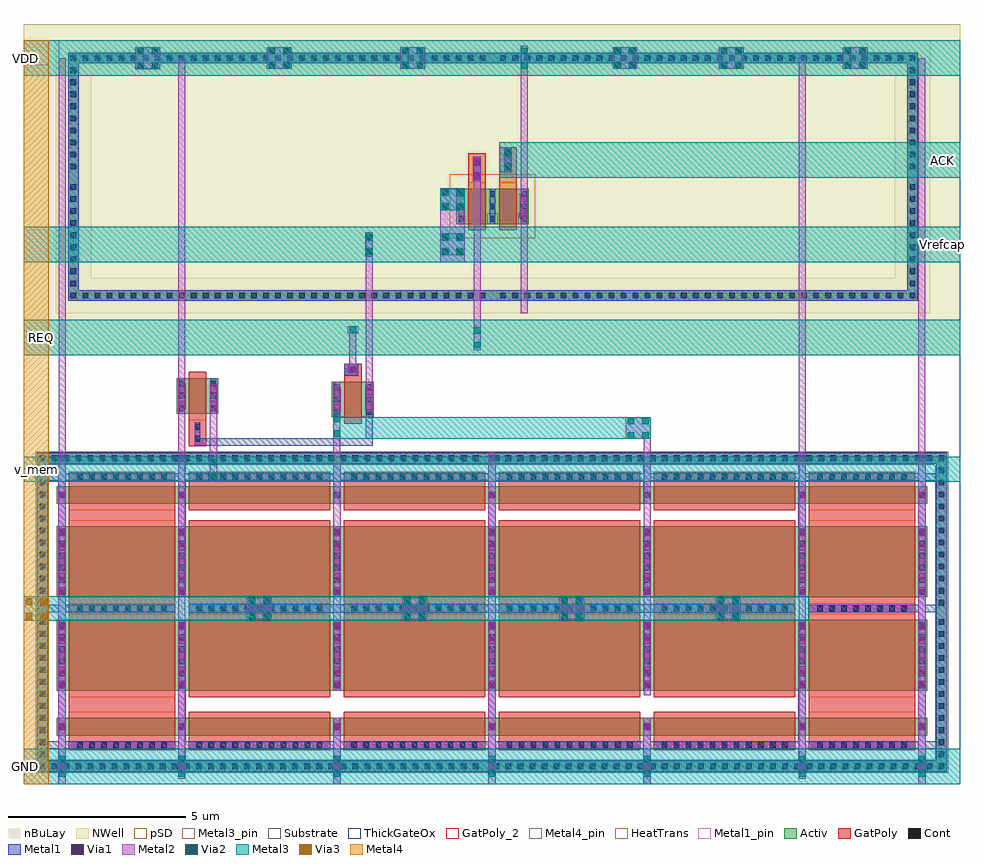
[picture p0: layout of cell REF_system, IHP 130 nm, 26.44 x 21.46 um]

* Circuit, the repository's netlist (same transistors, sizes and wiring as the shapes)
** sch_path: /foss/designs/adex_neuron/chenxi_working/ttihp26a-adex-neuron-ncs/xschem/REF_system.sch
.subckt REF_system ACK V_mem REQ Vrefcap GND V_ref VDD nwell psub
*.PININFO VDD:B GND:B V_ref:I REQ:I ACK:I V_mem:I Vrefcap:O psub:B nwell:B
M10 Vrefcap REQ net2 nwell sg13_hv_pmos w=1u l=0.5u ng=1
M11 Vrefcap REQ net1 psub sg13_hv_nmos w=1u l=0.5u ng=1
M12 net2 ACK VDD nwell sg13_hv_pmos w=1u l=0.5u ng=1
M13 V_mem Vrefcap GND psub sg13_hv_nmos w=1u l=0.5u ng=1
M14 net1 V_ref GND psub sg13_hv_nmos w=4u l=4u ng=2 m=4
Mdum3 GND GND GND psub sg13_hv_nmos w=2u l=4u ng=4 m=2
Mdum4 GND GND GND psub sg13_hv_nmos w=0.5u l=3u ng=1 m=4
Mdum5 GND GND GND psub sg13_hv_nmos w=2u l=3u ng=1 m=4
R4 GND psub ptap1 A=2.046e-11 P=0.0001364
R1 VDD nwell ntap1 A=1.824e-11 P=0.0001216
.ends

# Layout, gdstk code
from math import pi, radians
import gdstk
lib = gdstk.Library(unit=1e-6, precision=1e-09)
def R(c, l, rs):  # rectangles x0, y0, x1, y1
    for r in rs: c.add(gdstk.rectangle(r[:2], r[2:], *l))
def A(c, l, x, y, w, h, nx, ny, dx, dy):  # array of equal rectangles
    R(c, l, [(x+i*dx, y+j*dy, x+i*dx+w, y+j*dy+h) for i in range(nx) for j in range(ny)])
def P(c, l, *ps):  # polygons
    for p in ps: c.add(gdstk.Polygon(p, *l))
Activ = (1, 0)
GatPoly = (5, 0)
GatPoly_2 = (5, 2)
Cont = (6, 0)
Metal1 = (8, 0)
Metal1_pin = (8, 2)
Metal2 = (10, 0)
pSD = (14, 0)
Via1 = (19, 0)
Via2 = (29, 0)
Metal3 = (30, 0)
Metal3_pin = (30, 2)
NWell = (31, 0)
nBuLay = (32, 0)
Substrate = (40, 0)
ThickGateOx = (44, 0)
Via3 = (49, 0)
Metal4 = (50, 0)
Metal4_pin = (50, 2)
HeatTrans = (51, 0)

nmoshv = lib.new_cell('nmosHV')
A(nmoshv, Activ, 0, 0, 0.3, 0.3, 3, 1, 4.38, 0)
R(nmoshv, Activ, [(0,0,9.06,2)])
R(nmoshv, GatPoly, [(0.34,-0.18,4.34,2.18), (4.72,-0.18,8.72,2.18)])
R(nmoshv, GatPoly_2, [(0.34,-0.18,4.34,2.18)])
A(nmoshv, Cont, 0.07, 0.07, 0.16, 0.16, 3, 6, 4.38, 0.34)
A(nmoshv, Metal1, 0.07, 0, 0.16, 2, 3, 1, 4.38, 0)
R(nmoshv, Metal1_pin, [(0.07,0,0.23,2), (4.45,0,4.61,2)])
R(nmoshv, ThickGateOx, [(-0.27,-0.52,9.33,2.52)])
R(nmoshv, HeatTrans, [(0.34,-0.18,4.34,2.18), (4.72,-0.18,8.72,2.18)])
nmoshv.add(gdstk.Label('nmosHV', (2.34,1), layer=63, texttype=0))
nmoshv.add(gdstk.Label('nmosHV', (2.34,1), layer=51, texttype=0))
nmoshv.add(gdstk.Label('nmosHV', (6.72,1), layer=51, texttype=0))

nmoshv_1 = lib.new_cell('nmosHV$1')
A(nmoshv_1, Activ, 0, 0, 0.3, 0.3, 5, 1, 4.38, 0)
R(nmoshv_1, Activ, [(0,0,17.82,0.5)])
A(nmoshv_1, GatPoly, 0.34, -0.18, 4, 0.86, 4, 1, 4.38, 0)
R(nmoshv_1, GatPoly_2, [(0.34,-0.18,4.34,0.68)])
A(nmoshv_1, Cont, 0.07, 0.17, 0.16, 0.16, 5, 1, 4.38, 0)
A(nmoshv_1, Metal1, 0.07, 0, 0.16, 0.5, 5, 1, 4.38, 0)
R(nmoshv_1, Metal1_pin, [(0.07,0,0.23,0.5), (4.45,0,4.61,0.5)])
R(nmoshv_1, ThickGateOx, [(-0.27,-0.52,18.09,1.02)])
A(nmoshv_1, HeatTrans, 0.34, -0.18, 4, 0.86, 4, 1, 4.38, 0)
nmoshv_1.add(gdstk.Label('nmosHV', (2.34,0.25), layer=63, texttype=0))
nmoshv_1.add(gdstk.Label('nmosHV', (2.34,0.25), layer=51, texttype=0))
nmoshv_1.add(gdstk.Label('nmosHV', (6.72,0.25), layer=51, texttype=0))
nmoshv_1.add(gdstk.Label('nmosHV', (11.1,0.25), layer=51, texttype=0))
nmoshv_1.add(gdstk.Label('nmosHV', (15.48,0.25), layer=51, texttype=0))

guard_ring = lib.new_cell('guard_ring')
R(guard_ring, Activ, [(-12.85,-4.2,-12.55,4.2), (12.55,-4.2,12.85,4.2), (-12.85,4.2,12.85,4.5)])
P(guard_ring, Activ, [(-12.85,-4.5),(-12.85,4.2),(-12.55,4.2),(-12.55,-4.2),(12.55,-4.2),(12.55,4.2),(-12.85,4.2),(-12.85,4.5),(12.85,4.5),(12.85,-4.5)])
A(guard_ring, Cont, -12.78, -4.43, 0.16, 0.16, 37, 2, 0.34, 8.7)
A(guard_ring, Cont, 0.04, -4.43, 0.16, 0.16, 38, 2, 0.34, 8.7)
A(guard_ring, Cont, -12.78, -4.09, 0.16, 0.16, 1, 12, 0, 0.34)
A(guard_ring, Cont, 12.62, -4.09, 0.16, 0.16, 1, 12, 0, 0.34)
A(guard_ring, Cont, -12.78, 0.19, 0.16, 0.16, 1, 12, 0, 0.34)
A(guard_ring, Cont, 12.62, 0.19, 0.16, 0.16, 1, 12, 0, 0.34)
R(guard_ring, Metal1, [(-12.85,-4.5,12.85,-4.2), (-12.85,-4.2,-12.55,4.2), (12.55,-4.2,12.85,4.2), (-12.85,4.2,12.85,4.5)])
R(guard_ring, pSD, [(-12.88,-4.17,-12.52,4.17), (12.52,-4.17,12.88,4.17), (-12.88,4.17,12.88,4.53)])
P(guard_ring, pSD, [(-12.88,-4.53),(-12.88,4.17),(-12.52,4.17),(-12.52,-4.17),(12.52,-4.17),(12.52,4.17),(-12.88,4.17),(-12.88,4.53),(12.88,4.53),(12.88,-4.53)])
R(guard_ring, Substrate, [(-12.88,-4.17,-12.52,4.17), (12.52,-4.17,12.88,4.17), (-12.88,4.17,12.88,4.53)])
P(guard_ring, Substrate, [(-12.88,-4.53),(-12.88,4.17),(-12.52,4.17),(-12.52,-4.17),(12.52,-4.17),(12.52,4.17),(-12.88,4.17),(-12.88,4.53),(12.88,4.53),(12.88,-4.53)])
guard_ring.add(gdstk.Label('sub!', (0,-4.35), layer=63, texttype=0))

nmoshv_4 = lib.new_cell('nmosHV$4')
R(nmoshv_4, Activ, [(0,0,0.3,0.3), (0,0,1.18,1), (0.88,0,1.18,0.3)])
R(nmoshv_4, GatPoly, [(0.34,-0.18,0.84,1.18)])
R(nmoshv_4, GatPoly_2, [(0.34,-0.18,0.84,1.18)])
A(nmoshv_4, Cont, 0.07, 0.07, 0.16, 0.16, 1, 3, 0, 0.35)
A(nmoshv_4, Cont, 0.95, 0.07, 0.16, 0.16, 1, 3, 0, 0.35)
R(nmoshv_4, Metal1, [(0.07,0,0.23,1), (0.95,0,1.11,1)])
R(nmoshv_4, Metal1_pin, [(0.07,0,0.23,1), (0.95,0,1.11,1)])
R(nmoshv_4, ThickGateOx, [(-0.27,-0.52,1.45,1.52)])
R(nmoshv_4, HeatTrans, [(0.34,-0.18,0.84,1.18)])
nmoshv_4.add(gdstk.Label('nmosHV', (0.59,0.5), layer=63, texttype=0))
nmoshv_4.add(gdstk.Label('nmosHV', (0.59,0.5), layer=51, texttype=0))

pmoshv = lib.new_cell('pmosHV')
R(pmoshv, Activ, [(0,0,0.3,0.3), (0,0,1.18,1), (0.88,0,1.18,0.3)])
R(pmoshv, GatPoly, [(0.34,-0.18,0.84,1.18)])
R(pmoshv, GatPoly_2, [(0.34,-0.18,0.84,1.18)])
A(pmoshv, Cont, 0.07, 0.07, 0.16, 0.16, 1, 3, 0, 0.35)
A(pmoshv, Cont, 0.95, 0.07, 0.16, 0.16, 1, 3, 0, 0.35)
R(pmoshv, Metal1, [(0.07,0,0.23,1), (0.95,0,1.11,1)])
R(pmoshv, Metal1_pin, [(0.07,0,0.23,1), (0.95,0,1.11,1)])
R(pmoshv, pSD, [(-0.18,-0.4,1.36,1.4)])
R(pmoshv, NWell, [(-0.62,-0.62,1.8,1.62)])
R(pmoshv, Substrate, [(0.88,0,1.18,0.3)])
R(pmoshv, ThickGateOx, [(-0.62,-0.62,1.8,1.62)])
R(pmoshv, HeatTrans, [(0.34,-0.18,0.84,1.18)])
pmoshv.add(gdstk.Label('pmosHV', (0.59,0.5), layer=63, texttype=0))
pmoshv.add(gdstk.Label('pmos', (0.59,0.5), layer=51, texttype=0))

via_stack_10 = lib.new_cell('via_stack$10')
R(via_stack_10, Metal1, [(-0.105,-0.35,0.105,0.35)])
R(via_stack_10, Metal2, [(-0.1,-0.35,0.1,0.35)])
R(via_stack_10, Via1, [(-0.095,-0.3,0.095,-0.11), (-0.095,0.11,0.095,0.3)])

guard_ring_2 = lib.new_cell('guard_ring$2')
R(guard_ring_2, Activ, [(-12,-3.2,-11.7,3.2), (11.7,-3.2,12,3.2), (-12,3.2,12,3.5)])
P(guard_ring_2, Activ, [(-12,-3.5),(-12,3.2),(-11.7,3.2),(-11.7,-3.2),(11.7,-3.2),(11.7,3.2),(-12,3.2),(-12,3.5),(12,3.5),(12,-3.5)])
A(guard_ring_2, Cont, -11.93, -3.43, 0.16, 0.16, 35, 2, 0.34, 6.7)
A(guard_ring_2, Cont, 0.21, -3.43, 0.16, 0.16, 35, 2, 0.34, 6.7)
A(guard_ring_2, Cont, -11.93, -3.09, 0.16, 0.16, 1, 9, 0, 0.34)
A(guard_ring_2, Cont, 11.77, -3.09, 0.16, 0.16, 1, 9, 0, 0.34)
A(guard_ring_2, Cont, -11.93, 0.21, 0.16, 0.16, 1, 9, 0, 0.34)
A(guard_ring_2, Cont, 11.77, 0.21, 0.16, 0.16, 1, 9, 0, 0.34)
R(guard_ring_2, Metal1, [(-12,-3.5,12,-3.2), (-12,-3.2,-11.7,3.2), (11.7,-3.2,12,3.2), (-12,3.2,12,3.5)])
R(guard_ring_2, NWell, [(-12.35,-3.85,12.35,3.85)])
R(guard_ring_2, nBuLay, [(-12.35,-2.85,-11.35,2.85), (11.35,-2.85,12.35,2.85), (-12.35,2.85,12.35,3.85)])
P(guard_ring_2, nBuLay, [(-12.35,-3.85),(-12.35,2.85),(-11.35,2.85),(-11.35,-2.85),(11.35,-2.85),(11.35,2.85),(-12.35,2.85),(-12.35,3.85),(12.35,3.85),(12.35,-3.85)])
guard_ring_2.add(gdstk.Label('well', (0,-3.35), layer=63, texttype=0))

via_stack_11 = lib.new_cell('via_stack$11')
R(via_stack_11, Metal1, [(-0.105,-0.35,0.105,0.35)])
R(via_stack_11, Metal2, [(-0.1,-0.35,0.1,0.35)])
R(via_stack_11, Via1, [(-0.095,-0.3,0.095,-0.11), (-0.095,0.11,0.095,0.3)])

via_stack_15 = lib.new_cell('via_stack$15')
R(via_stack_15, GatPoly, [(-0.15,-0.32,0.15,0.32)])
R(via_stack_15, Cont, [(-0.08,-0.25,0.08,-0.09), (-0.08,0.09,0.08,0.25)])
R(via_stack_15, Metal1, [(-0.105,-0.35,0.105,0.35)])
R(via_stack_15, Metal2, [(-0.1,-0.35,0.1,0.35)])
R(via_stack_15, Via1, [(-0.095,-0.3,0.095,-0.11), (-0.095,0.11,0.095,0.3)])
R(via_stack_15, Via2, [(-0.095,-0.3,0.095,-0.11), (-0.095,0.11,0.095,0.3)])
R(via_stack_15, Metal3, [(-0.1,-0.35,0.1,0.35)])

via_stack_24 = lib.new_cell('via_stack$24')
R(via_stack_24, Metal1, [(-0.35,-0.31,0.35,0.31)])
R(via_stack_24, Metal2, [(-0.35,-0.305,0.35,0.305)])
R(via_stack_24, Via1, [(-0.3,-0.3,-0.11,-0.11), (0.11,-0.3,0.3,-0.11), (-0.3,0.11,-0.11,0.3), (0.11,0.11,0.3,0.3)])
R(via_stack_24, Via2, [(-0.3,-0.3,-0.11,-0.11), (0.11,-0.3,0.3,-0.11), (-0.3,0.11,-0.11,0.3), (0.11,0.11,0.3,0.3)])
R(via_stack_24, Metal3, [(-0.35,-0.305,0.35,0.305)])

via_stack = lib.new_cell('via_stack')
R(via_stack, Metal2, [(-0.1,-0.35,0.1,0.35)])
R(via_stack, Via2, [(-0.095,-0.3,0.095,-0.11), (-0.095,0.11,0.095,0.3)])
R(via_stack, Metal3, [(-0.1,-0.35,0.1,0.35)])

via_stack_21 = lib.new_cell('via_stack$21')
R(via_stack_21, GatPoly, [(-0.15,-0.15,0.15,0.15)])
R(via_stack_21, Cont, [(-0.08,-0.08,0.08,0.08)])
R(via_stack_21, Metal1, [(-0.145,-0.105,0.145,0.105)])
R(via_stack_21, Metal2, [(-0.145,-0.1,0.145,0.1)])
R(via_stack_21, Via1, [(-0.095,-0.095,0.095,0.095)])

via_stack_23 = lib.new_cell('via_stack$23')
R(via_stack_23, Metal1, [(-0.105,-0.35,0.105,0.35)])
R(via_stack_23, Metal2, [(-0.1,-0.35,0.1,0.35)])
R(via_stack_23, Via1, [(-0.095,-0.3,0.095,-0.11), (-0.095,0.11,0.095,0.3)])
R(via_stack_23, Via2, [(-0.095,-0.3,0.095,-0.11), (-0.095,0.11,0.095,0.3)])
R(via_stack_23, Metal3, [(-0.1,-0.35,0.1,0.35)])

via_stack_20 = lib.new_cell('via_stack$20')
R(via_stack_20, Metal2, [(-0.145,-0.1,0.145,0.1)])
R(via_stack_20, Via2, [(-0.095,-0.095,0.095,0.095)])
R(via_stack_20, Metal3, [(-0.145,-0.1,0.145,0.1)])

via_stack_22 = lib.new_cell('via_stack$22')
R(via_stack_22, GatPoly, [(-0.15,-0.32,0.15,0.32)])
R(via_stack_22, Cont, [(-0.08,-0.25,0.08,-0.09), (-0.08,0.09,0.08,0.25)])
R(via_stack_22, Metal1, [(-0.105,-0.35,0.105,0.35)])
R(via_stack_22, Metal2, [(-0.1,-0.35,0.1,0.35)])
R(via_stack_22, Via1, [(-0.095,-0.3,0.095,-0.11), (-0.095,0.11,0.095,0.3)])

via_stack_7 = lib.new_cell('via_stack$7')
R(via_stack_7, GatPoly, [(-1.85,-0.15,1.85,0.15)])
A(via_stack_7, Cont, -1.78, -0.08, 0.16, 0.16, 11, 1, 0.34, 0)
R(via_stack_7, Metal1, [(-1.83,-0.08,1.83,0.08)])

via_stack_2 = lib.new_cell('via_stack$2')
R(via_stack_2, Metal1, [(-0.145,-0.105,0.145,0.105)])
R(via_stack_2, Metal2, [(-0.145,-0.1,0.145,0.1)])
R(via_stack_2, Via1, [(-0.095,-0.095,0.095,0.095)])

via_stack_3 = lib.new_cell('via_stack$3')
R(via_stack_3, Metal1, [(-0.965,-0.105,0.965,0.105)])
R(via_stack_3, Metal2, [(-0.965,-0.1,0.965,0.1)])
A(via_stack_3, Via1, -0.915, -0.095, 0.19, 0.19, 5, 1, 0.41, 0)

nmoshv_2 = lib.new_cell('nmosHV$2')
R(nmoshv_2, Activ, [(0,0,0.3,0.3), (0,0,3.68,0.5), (3.38,0,3.68,0.3)])
R(nmoshv_2, GatPoly, [(0.34,-0.18,3.34,0.68)])
R(nmoshv_2, GatPoly_2, [(0.34,-0.18,3.34,0.68)])
R(nmoshv_2, Cont, [(0.07,0.17,0.23,0.33), (3.45,0.17,3.61,0.33)])
R(nmoshv_2, Metal1, [(0.07,0,0.23,0.5), (3.45,0,3.61,0.5)])
R(nmoshv_2, Metal1_pin, [(0.07,0,0.23,0.5), (3.45,0,3.61,0.5)])
R(nmoshv_2, ThickGateOx, [(-0.27,-0.52,3.95,1.02)])
R(nmoshv_2, HeatTrans, [(0.34,-0.18,3.34,0.68)])
nmoshv_2.add(gdstk.Label('nmosHV', (1.84,0.25), layer=63, texttype=0))
nmoshv_2.add(gdstk.Label('nmosHV', (1.84,0.25), layer=51, texttype=0))

nmoshv_3 = lib.new_cell('nmosHV$3')
R(nmoshv_3, Activ, [(0,0,0.3,0.3), (0,0,3.68,2), (3.38,0,3.68,0.3)])
R(nmoshv_3, GatPoly, [(0.34,-0.18,3.34,2.18)])
R(nmoshv_3, GatPoly_2, [(0.34,-0.18,3.34,2.18)])
A(nmoshv_3, Cont, 0.07, 0.07, 0.16, 0.16, 1, 6, 0, 0.34)
A(nmoshv_3, Cont, 3.45, 0.07, 0.16, 0.16, 1, 6, 0, 0.34)
R(nmoshv_3, Metal1, [(0.07,0,0.23,2), (3.45,0,3.61,2)])
R(nmoshv_3, Metal1_pin, [(0.07,0,0.23,2), (3.45,0,3.61,2)])
R(nmoshv_3, ThickGateOx, [(-0.27,-0.52,3.95,2.52)])
R(nmoshv_3, HeatTrans, [(0.34,-0.18,3.34,2.18)])
nmoshv_3.add(gdstk.Label('nmosHV', (1.84,1), layer=63, texttype=0))
nmoshv_3.add(gdstk.Label('nmosHV', (1.84,1), layer=51, texttype=0))

via_stack_9 = lib.new_cell('via_stack$9')
R(via_stack_9, GatPoly, [(-1.34,-0.15,1.34,0.15)])
A(via_stack_9, Cont, -1.27, -0.08, 0.16, 0.16, 8, 1, 0.34, 0)
R(via_stack_9, Metal1, [(-1.32,-0.08,1.32,0.08)])

via_stack_13 = lib.new_cell('via_stack$13')
R(via_stack_13, GatPoly, [(-0.15,-0.32,0.15,0.32)])
R(via_stack_13, Cont, [(-0.08,-0.25,0.08,-0.09), (-0.08,0.09,0.08,0.25)])
R(via_stack_13, Metal1, [(-0.08,-0.3,0.08,0.3)])

via_stack_12 = lib.new_cell('via_stack$12')
R(via_stack_12, Metal3, [(-0.35,-0.305,0.35,0.305)])
R(via_stack_12, Via3, [(-0.3,-0.3,-0.11,-0.11), (0.11,-0.3,0.3,-0.11), (-0.3,0.11,-0.11,0.3), (0.11,0.11,0.3,0.3)])
R(via_stack_12, Metal4, [(-0.35,-0.305,0.35,0.305)])

via_stack_8 = lib.new_cell('via_stack$8')
R(via_stack_8, Metal1, [(-0.35,-0.105,0.35,0.105)])
R(via_stack_8, Metal2, [(-0.35,-0.1,0.35,0.1)])
R(via_stack_8, Via1, [(-0.3,-0.095,-0.11,0.095), (0.11,-0.095,0.3,0.095)])

via_stack_4 = lib.new_cell('via_stack$4')
R(via_stack_4, Metal2, [(-0.35,-0.305,0.35,0.305)])
R(via_stack_4, Via2, [(-0.3,-0.3,-0.11,-0.11), (0.11,-0.3,0.3,-0.11), (-0.3,0.11,-0.11,0.3), (0.11,0.11,0.3,0.3)])
R(via_stack_4, Metal3, [(-0.35,-0.305,0.35,0.305)])

ref_system = lib.new_cell('REF_system')
A(ref_system, GatPoly, 4.65, 0.455, 4, 0.3, 4, 1, 4.38, 0)
A(ref_system, GatPoly, 4.65, 1.955, 4, 5, 4, 1, 4.38, 0)
R(ref_system, GatPoly, [(1.27,0.455,4.27,8.325), (22.17,0.455,25.17,8.325), (4.65,8.025,8.65,8.325), (4.65,8.025,8.65,8.325), (9.03,8.025,13.03,8.325), (9.03,8.025,13.03,8.325), (13.41,8.025,17.41,8.325), (13.41,8.025,17.41,8.325), (17.79,8.025,21.79,8.325), (17.79,8.025,21.79,8.325), (4.655,9.035,5.155,9.955), (9.04,10.965,9.54,11.375), (13.425,16.21,13.92,17.485), (12.545,16.395,13.045,17.315)])
A(ref_system, Metal1, 4.355, 0.865, 0.21, 0.5, 5, 1, 4.38, 0)
A(ref_system, Metal1, 4.355, 2.135, 0.21, 2, 5, 2, 4.38, 2.64)
R(ref_system, Metal1, [(0.975,0.865,1.185,1.365), (25.255,0.865,25.465,1.365), (0.975,2.135,1.185,4.135), (25.255,2.135,25.465,4.135), (0.975,4.775,1.185,6.775), (25.255,4.775,25.465,6.775), (0.975,7.415,1.185,7.915), (0.975,7.415,1.185,7.915), (4.355,7.415,4.565,7.915), (4.355,7.415,4.565,7.915), (8.74,7.415,8.95,7.915), (8.74,7.415,8.95,7.915), (13.115,7.415,13.325,7.915), (13.115,7.415,13.325,7.915), (17.495,7.415,17.705,7.915), (17.495,7.415,17.705,7.915), (21.875,7.415,22.085,7.915), (21.875,7.415,22.085,7.915), (25.255,7.415,25.465,7.915), (25.255,7.415,25.465,7.915), (1.27,8.07,4.27,8.28), (1.27,8.07,4.27,8.28), (22.17,8.07,25.17,8.28), (22.17,8.07,25.17,8.28), (9.04,11.035,9.44,11.375)])
R(ref_system, Metal2, [(13.425,16.78,13.775,17.485)])
R(ref_system, Metal3_pin, [(0,-0.5,1,0.5), (0,8.04,0.7,8.74), (0,11.605,1,12.605), (25.44,14.24,26.44,15.24), (25.44,16.62,26.44,17.62), (0,19.5,1,20.5)])
R(ref_system, NWell, [(0,11.605,26.44,20.965)])
R(ref_system, ThickGateOx, [(0,-0.5,26.44,20.5)])
R(ref_system, Metal4_pin, [(0,19.8,0.7,20.5)])
ref_system.add(gdstk.FlexPath([(4.82,9.16),(9.75,9.16),(9.75,10.855)], 0.2, ends="flush", simple_path=True, layer=8, datatype=0))  # Metal1
ref_system.add(gdstk.FlexPath([(1.08,8.85),(1.08,-0.15)], 0.21, ends="flush", simple_path=True, layer=8, datatype=0))  # Metal1
ref_system.add(gdstk.FlexPath([(1.08,2.04),(1.08,0)], 0.21, ends="flush", simple_path=True, layer=8, datatype=0))  # Metal1
ref_system.add(gdstk.FlexPath([(25.36,2.04),(25.36,0)], 0.21, ends="flush", simple_path=True, layer=8, datatype=0))  # Metal1
ref_system.add(gdstk.FlexPath([(25.36,-0.15),(25.36,8.85)], 0.21, ends="flush", simple_path=True, layer=8, datatype=0))  # Metal1
ref_system.add(gdstk.FlexPath([(13.22,8.85),(13.22,4.775)], 0.21, ends="flush", simple_path=True, layer=8, datatype=0))  # Metal1
ref_system.add(gdstk.FlexPath([(4.46,4.135),(4.46,0)], 0.21, ends="flush", simple_path=True, layer=8, datatype=0))  # Metal1
ref_system.add(gdstk.FlexPath([(21.98,4.135),(21.98,0)], 0.21, ends="flush", simple_path=True, layer=8, datatype=0))  # Metal1
ref_system.add(gdstk.FlexPath([(21.98,8.85),(21.98,4.775)], 0.21, ends="flush", simple_path=True, layer=8, datatype=0))  # Metal1
ref_system.add(gdstk.FlexPath([(13.22,4.135),(13.22,0)], 0.21, ends="flush", simple_path=True, layer=8, datatype=0))  # Metal1
ref_system.add(gdstk.FlexPath([(4.65,4.455),(21.79,4.455)], 0.24, ends="flush", simple_path=True, layer=8, datatype=0))  # Metal1
ref_system.add(gdstk.FlexPath([(9.03,4.455),(13.03,4.455)], 0.24, ends="flush", simple_path=True, layer=8, datatype=0))  # Metal1
ref_system.add(gdstk.FlexPath([(13.41,4.455),(17.41,4.455)], 0.24, ends="flush", simple_path=True, layer=8, datatype=0))  # Metal1
ref_system.add(gdstk.FlexPath([(17.79,4.455),(21.79,4.455)], 0.24, ends="flush", simple_path=True, layer=8, datatype=0))  # Metal1
ref_system.add(gdstk.FlexPath([(8.84,1.365),(8.84,-0.5)], 0.21, ends="flush", simple_path=True, layer=8, datatype=0))  # Metal1
ref_system.add(gdstk.FlexPath([(17.6,1.365),(17.6,-0.5)], 0.21, ends="flush", simple_path=True, layer=8, datatype=0))  # Metal1
ref_system.add(gdstk.FlexPath([(8.845,8.85),(8.845,7.415)], 0.21, ends="flush", simple_path=True, layer=8, datatype=0))  # Metal1
ref_system.add(gdstk.FlexPath([(17.6,8.85),(17.6,7.415)], 0.21, ends="flush", simple_path=True, layer=8, datatype=0))  # Metal1
ref_system.add(gdstk.FlexPath([(4.46,8.85),(4.46,4.775)], 0.21, ends="flush", simple_path=True, layer=8, datatype=0))  # Metal1
ref_system.add(gdstk.FlexPath([(4.27,4.455),(0.38,4.455)], 0.21, ends="flush", simple_path=True, layer=8, datatype=0))  # Metal1
ref_system.add(gdstk.FlexPath([(0.38,8.175),(26.06,8.175)], 0.21, ends="flush", simple_path=True, layer=8, datatype=0))  # Metal1
ref_system.add(gdstk.FlexPath([(22.17,4.455),(26.06,4.455),(26.06,4.455)], 0.21, ends="flush", simple_path=True, layer=8, datatype=0))  # Metal1
ref_system.add(gdstk.FlexPath([(0.38,0.605),(26.06,0.605)], 0.21, ends="flush", simple_path=True, layer=8, datatype=0))  # Metal1
ref_system.add(gdstk.FlexPath([(0.38,8.175),(26.06,8.175)], 0.21, ends="flush", simple_path=True, layer=8, datatype=0))  # Metal1
ref_system.add(gdstk.FlexPath([(17.6,8.85),(17.6,7.415)], 0.21, ends="flush", simple_path=True, layer=8, datatype=0))  # Metal1
ref_system.add(gdstk.FlexPath([(8.845,8.85),(8.845,7.415)], 0.21, ends="flush", simple_path=True, layer=8, datatype=0))  # Metal1
ref_system.add(gdstk.FlexPath([(17.6,2),(17.6,9.855)], 0.2, ends="flush", simple_path=True, layer=10, datatype=0))  # Metal2
ref_system.add(gdstk.FlexPath([(12.105,16.315),(12.105,14.24)], 0.7, ends="flush", simple_path=True, layer=10, datatype=0))  # Metal2
ref_system.add(gdstk.FlexPath([(14.125,20.35),(14.125,12.8)], 0.2, ends="flush", simple_path=True, layer=10, datatype=0))  # Metal2
ref_system.add(gdstk.FlexPath([(1.08,8.845),(1.08,19.995)], 0.2, ends="flush", simple_path=True, layer=10, datatype=0))  # Metal2
ref_system.add(gdstk.FlexPath([(4.46,10.81),(4.46,20)], 0.2, ends="flush", simple_path=True, layer=10, datatype=0))  # Metal2
ref_system.add(gdstk.FlexPath([(21.98,8.845),(21.98,20.005)], 0.2, ends="flush", simple_path=True, layer=10, datatype=0))  # Metal2
ref_system.add(gdstk.FlexPath([(25.36,8.845),(25.36,20)], 0.2, ends="flush", simple_path=True, layer=10, datatype=0))  # Metal2
ref_system.add(gdstk.FlexPath([(4.46,9.675),(4.46,10.81)], 0.2, ends="flush", simple_path=True, layer=10, datatype=0))  # Metal2
ref_system.add(gdstk.FlexPath([(5.355,10.79),(5.355,8.04)], 0.2, ends="flush", simple_path=True, layer=10, datatype=0))  # Metal2
ref_system.add(gdstk.FlexPath([(9.75,10.02),(9.75,14.74)], 0.2, ends="flush", simple_path=True, layer=10, datatype=0))  # Metal2
ref_system.add(gdstk.FlexPath([(12.8,17.22),(12.8,11.755)], 0.2, ends="flush", simple_path=True, layer=10, datatype=0))  # Metal2
ref_system.add(gdstk.FlexPath([(8.84,2.135),(8.84,8.695)], 0.21, ends="flush", simple_path=True, layer=10, datatype=0))  # Metal2
ref_system.add(gdstk.FlexPath([(25.36,8.85),(25.36,-0.5)], 0.21, ends="flush", simple_path=True, layer=10, datatype=0))  # Metal2
ref_system.add(gdstk.FlexPath([(1.08,8.85),(1.08,-0.5)], 0.21, ends="flush", simple_path=True, layer=10, datatype=0))  # Metal2
ref_system.add(gdstk.FlexPath([(13.22,8.85),(13.22,-0.5)], 0.21, ends="flush", simple_path=True, layer=10, datatype=0))  # Metal2
ref_system.add(gdstk.FlexPath([(8.84,1.365),(8.84,-0.5)], 0.21, ends="flush", simple_path=True, layer=10, datatype=0))  # Metal2
ref_system.add(gdstk.FlexPath([(17.6,1.365),(17.6,-0.5)], 0.21, ends="flush", simple_path=True, layer=10, datatype=0))  # Metal2
ref_system.add(gdstk.FlexPath([(8.84,8.695),(8.84,10.855)], 0.2, ends="flush", simple_path=True, layer=10, datatype=0))  # Metal2
ref_system.add(gdstk.FlexPath([(4.46,-0.35),(4.46,9.675)], 0.2, ends="flush", simple_path=True, layer=10, datatype=0))  # Metal2
ref_system.add(gdstk.FlexPath([(21.98,-0.35),(21.98,8.845)], 0.2, ends="flush", simple_path=True, layer=10, datatype=0))  # Metal2
ref_system.add(gdstk.FlexPath([(9.29,11.115),(9.29,12.43)], 0.2, ends="flush", simple_path=True, layer=10, datatype=0))  # Metal2
ref_system.add(gdstk.FlexPath([(17.7,9.55),(8.745,9.55)], 0.61, ends="flush", simple_path=True, layer=30, datatype=0))  # Metal3
ref_system.add(gdstk.FlexPath([(26.44,12.105),(0,12.105)], 1, ends="flush", simple_path=True, layer=30, datatype=0))  # Metal3
ref_system.add(gdstk.FlexPath([(0,4.455),(22.17,4.455)], 0.7, ends="flush", simple_path=True, layer=30, datatype=0))  # Metal3
ref_system.add(gdstk.FlexPath([(26.44,17.12),(13.425,17.12)], 1, ends="flush", simple_path=True, layer=30, datatype=0))  # Metal3
ref_system.add(gdstk.FlexPath([(26.44,8.39),(0,8.39)], 0.7, ends="flush", simple_path=True, layer=30, datatype=0))  # Metal3
ref_system.add(gdstk.FlexPath([(0,0),(26.44,0)], 1, ends="flush", simple_path=True, layer=30, datatype=0))  # Metal3
ref_system.add(gdstk.FlexPath([(0,20),(26.44,20)], 1, ends="flush", simple_path=True, layer=30, datatype=0))  # Metal3
ref_system.add(gdstk.FlexPath([(26.44,8.39),(0,8.39)], 0.7, ends="flush", simple_path=True, layer=30, datatype=0))  # Metal3
ref_system.add(gdstk.FlexPath([(26.44,14.74),(0,14.74)], 1, ends="flush", simple_path=True, layer=30, datatype=0))  # Metal3
ref_system.add(gdstk.FlexPath([(0.35,-0.5),(0.35,20.5)], 0.7, ends="flush", simple_path=True, layer=50, datatype=0))  # Metal4
ref_system.add(gdstk.Reference(nmoshv, (4.31,2.135)))
ref_system.add(gdstk.Reference(nmoshv, (13.07,2.135)))
ref_system.add(gdstk.Reference(nmoshv, (4.31,4.775)))
ref_system.add(gdstk.Reference(nmoshv_1, (4.31,7.415)))
ref_system.add(gdstk.Reference(nmoshv_1, (4.31,0.865)))
ref_system.add(gdstk.Reference(nmoshv, (13.07,4.775)))
ref_system.add(gdstk.Reference(guard_ring, (13.22,4.35)))
ref_system.add(gdstk.Reference(nmoshv_4, (9.88,10.855), rotation=pi))
ref_system.add(gdstk.Reference(pmoshv, (13.085,15.315)))
ref_system.add(gdstk.Reference(pmoshv, (12.205,15.315)))
ref_system.add(gdstk.Reference(nmoshv_1, (4.31,7.415)))
ref_system.add(gdstk.Reference(nmoshv_4, (4.315,9.96)))
ref_system.add(gdstk.Reference(via_stack_10, (8.845,10.355)))
ref_system.add(gdstk.Reference(guard_ring_2, (13.245,16.65)))
ref_system.add(gdstk.Reference(via_stack_11, (9.75,10.37)))
ref_system.add(gdstk.Reference(via_stack_11, (14.115,15.815)))
ref_system.add(gdstk.Reference(via_stack_15, (13.665,17.13)))
ref_system.add(gdstk.Reference(via_stack_24, (19.975,20.005)))
ref_system.add(gdstk.Reference(via_stack_24, (23.48,20.005)))
ref_system.add(gdstk.Reference(via_stack, (14.125,20)))
ref_system.add(gdstk.Reference(via_stack_24, (16.975,20.005)))
ref_system.add(gdstk.Reference(via_stack_24, (16.975,20.005)))
ref_system.add(gdstk.Reference(via_stack_24, (12.105,16.01)))
ref_system.add(gdstk.Reference(via_stack_21, (9.29,11.21)))
ref_system.add(gdstk.Reference(via_stack_23, (9.75,14.74)))
ref_system.add(gdstk.Reference(via_stack_24, (12.105,14.74)))
ref_system.add(gdstk.Reference(via_stack_24, (10.98,20.005)))
ref_system.add(gdstk.Reference(via_stack_24, (7.215,20.005)))
ref_system.add(gdstk.Reference(via_stack_20, (9.295,12.33)))
ref_system.add(gdstk.Reference(via_stack_11, (5.355,10.44)))
ref_system.add(gdstk.Reference(via_stack_11, (4.465,10.44)))
ref_system.add(gdstk.Reference(via_stack_22, (12.8,16.87)))
ref_system.add(gdstk.Reference(via_stack, (12.805,12.105)))
ref_system.add(gdstk.Reference(via_stack_24, (3.5,20)))
ref_system.add(gdstk.Reference(via_stack_7, (11.03,8.175)))
ref_system.add(gdstk.Reference(via_stack_2, (1.08,8.7), rotation=pi/2))
ref_system.add(gdstk.Reference(via_stack, (4.46,0)))
ref_system.add(gdstk.Reference(via_stack_2, (4.46,0), rotation=pi/2))
ref_system.add(gdstk.Reference(via_stack_2, (4.46,1.115), rotation=pi/2))
ref_system.add(gdstk.Reference(via_stack_3, (4.46,3.135), rotation=pi/2))
ref_system.add(gdstk.Reference(via_stack_3, (4.46,5.775), rotation=pi/2))
ref_system.add(gdstk.Reference(via_stack_2, (4.46,7.665), rotation=pi/2))
ref_system.add(gdstk.Reference(via_stack_2, (4.46,8.7), rotation=pi/2))
ref_system.add(gdstk.Reference(nmoshv_2, (0.93,0.865)))
ref_system.add(gdstk.Reference(nmoshv_2, (0.93,7.415)))
ref_system.add(gdstk.Reference(nmoshv_3, (0.93,4.775)))
ref_system.add(gdstk.Reference(nmoshv_3, (0.93,2.135)))
ref_system.add(gdstk.Reference(via_stack, (1.08,0)))
ref_system.add(gdstk.Reference(via_stack_7, (11.03,8.175)))
ref_system.add(gdstk.Reference(via_stack_7, (6.65,8.175)))
ref_system.add(gdstk.Reference(via_stack_9, (2.77,8.175)))
ref_system.add(gdstk.Reference(via_stack_2, (1.08,7.665), rotation=pi/2))
ref_system.add(gdstk.Reference(nmoshv_2, (0.93,7.415)))
ref_system.add(gdstk.Reference(via_stack_2, (4.46,8.7), rotation=pi/2))
ref_system.add(gdstk.Reference(via_stack_2, (4.46,7.665), rotation=pi/2))
ref_system.add(gdstk.Reference(via_stack, (5.365,8.39)))
ref_system.add(gdstk.Reference(via_stack_2, (1.08,8.7), rotation=pi/2))
ref_system.add(gdstk.Reference(via_stack_2, (1.08,0), rotation=pi/2))
ref_system.add(gdstk.Reference(via_stack_13, (4.9,9.42)))
ref_system.add(gdstk.Reference(via_stack_2, (1.08,1.115), rotation=pi/2))
ref_system.add(gdstk.Reference(via_stack_7, (6.65,4.455)))
ref_system.add(gdstk.Reference(via_stack_7, (11.03,4.455)))
ref_system.add(gdstk.Reference(via_stack_3, (8.84,3.135), rotation=pi/2))
ref_system.add(gdstk.Reference(via_stack_3, (8.84,5.775), rotation=pi/2))
ref_system.add(gdstk.Reference(via_stack_12, (0.35,4.445)))
ref_system.add(gdstk.Reference(via_stack, (8.84,0)))
ref_system.add(gdstk.Reference(via_stack_2, (8.84,0), rotation=pi/2))
ref_system.add(gdstk.Reference(via_stack_2, (8.84,1.115), rotation=pi/2))
ref_system.add(gdstk.Reference(via_stack_8, (6.65,4.455)))
ref_system.add(gdstk.Reference(via_stack_3, (1.08,3.135), rotation=pi/2))
ref_system.add(gdstk.Reference(via_stack, (8.84,9.605)))
ref_system.add(gdstk.Reference(via_stack_4, (6.65,4.455)))
ref_system.add(gdstk.Reference(via_stack_4, (6.65,4.455)))
ref_system.add(gdstk.Reference(via_stack_8, (11.035,4.445)))
ref_system.add(gdstk.Reference(via_stack_4, (11.035,4.455)))
ref_system.add(gdstk.Reference(via_stack_3, (1.08,5.775), rotation=pi/2))
ref_system.add(gdstk.Reference(via_stack_2, (1.08,7.665), rotation=pi/2))
ref_system.add(gdstk.Reference(via_stack_9, (2.77,4.455)))
ref_system.add(gdstk.Reference(via_stack_9, (2.77,8.175)))
ref_system.add(gdstk.Reference(via_stack_9, (2.77,0.605)))
ref_system.add(gdstk.Reference(via_stack_7, (6.65,0.605)))
ref_system.add(gdstk.Reference(via_stack_7, (11.03,0.605)))
ref_system.add(gdstk.Reference(via_stack_7, (6.65,8.175)))
ref_system.add(gdstk.Reference(via_stack_2, (21.98,0), rotation=pi/2))
ref_system.add(gdstk.Reference(nmoshv_3, (21.83,2.135)))
ref_system.add(gdstk.Reference(via_stack_7, (15.41,8.175)))
ref_system.add(gdstk.Reference(via_stack_2, (21.98,1.115), rotation=pi/2))
ref_system.add(gdstk.Reference(via_stack_7, (19.79,8.175)))
ref_system.add(gdstk.Reference(via_stack, (17.6,0)))
ref_system.add(gdstk.Reference(via_stack_2, (17.6,0), rotation=pi/2))
ref_system.add(gdstk.Reference(via_stack_2, (17.6,1.115), rotation=pi/2))
ref_system.add(gdstk.Reference(via_stack_7, (19.79,8.175)))
ref_system.add(gdstk.Reference(via_stack_7, (15.41,8.175)))
ref_system.add(gdstk.Reference(via_stack_2, (25.36,7.665), rotation=pi/2))
ref_system.add(gdstk.Reference(via_stack_9, (23.67,8.175)))
ref_system.add(gdstk.Reference(via_stack_2, (25.36,8.7), rotation=pi/2))
ref_system.add(gdstk.Reference(via_stack_2, (21.98,8.7), rotation=pi/2))
ref_system.add(gdstk.Reference(via_stack_2, (21.98,7.665), rotation=pi/2))
ref_system.add(gdstk.Reference(via_stack_2, (13.22,8.7), rotation=pi/2))
ref_system.add(gdstk.Reference(nmoshv_2, (21.83,7.415)))
ref_system.add(gdstk.Reference(via_stack_3, (21.98,3.135), rotation=pi/2))
ref_system.add(gdstk.Reference(via_stack_8, (19.89,4.445)))
ref_system.add(gdstk.Reference(via_stack_3, (21.98,5.775), rotation=pi/2))
ref_system.add(gdstk.Reference(via_stack_2, (21.98,7.665), rotation=pi/2))
ref_system.add(gdstk.Reference(via_stack_2, (21.98,8.7), rotation=pi/2))
ref_system.add(gdstk.Reference(via_stack, (25.36,0)))
ref_system.add(gdstk.Reference(via_stack_2, (25.36,0), rotation=pi/2))
ref_system.add(gdstk.Reference(via_stack_2, (25.36,8.7), rotation=pi/2))
ref_system.add(gdstk.Reference(via_stack_2, (25.36,1.115), rotation=pi/2))
ref_system.add(gdstk.Reference(via_stack_3, (25.36,3.135), rotation=pi/2))
ref_system.add(gdstk.Reference(via_stack_9, (23.67,4.455)))
ref_system.add(gdstk.Reference(via_stack_9, (23.67,8.175)))
ref_system.add(gdstk.Reference(via_stack_9, (23.67,0.605)))
ref_system.add(gdstk.Reference(via_stack_3, (25.36,5.775), rotation=pi/2))
ref_system.add(gdstk.Reference(via_stack_2, (25.36,7.665), rotation=pi/2))
ref_system.add(gdstk.Reference(via_stack_7, (15.41,0.605)))
ref_system.add(gdstk.Reference(via_stack_7, (19.79,0.605)))
ref_system.add(gdstk.Reference(via_stack_7, (15.41,4.455)))
ref_system.add(gdstk.Reference(via_stack_7, (19.79,4.455)))
ref_system.add(gdstk.Reference(via_stack_4, (19.89,4.455)))
ref_system.add(gdstk.Reference(via_stack_2, (13.22,7.665), rotation=pi/2))
ref_system.add(gdstk.Reference(via_stack_4, (17.35,9.55)))
ref_system.add(gdstk.Reference(via_stack_3, (13.22,3.135), rotation=pi/2))
ref_system.add(gdstk.Reference(via_stack_3, (13.22,5.775), rotation=pi/2))
ref_system.add(gdstk.Reference(via_stack_2, (13.22,7.665), rotation=pi/2))
ref_system.add(gdstk.Reference(via_stack_8, (15.47,4.445)))
ref_system.add(gdstk.Reference(via_stack_4, (15.47,4.455)))
ref_system.add(gdstk.Reference(via_stack_2, (13.22,8.7), rotation=pi/2))
ref_system.add(gdstk.Reference(via_stack, (13.22,0)))
ref_system.add(gdstk.Reference(via_stack_2, (13.22,0), rotation=pi/2))
ref_system.add(gdstk.Reference(nmoshv_3, (21.83,4.775)))
ref_system.add(gdstk.Reference(nmoshv_2, (21.83,7.415)))
ref_system.add(gdstk.Reference(via_stack_3, (17.6,3.135), rotation=pi/2))
ref_system.add(gdstk.Reference(via_stack_2, (13.22,1.115), rotation=pi/2))
ref_system.add(gdstk.Reference(nmoshv_2, (21.83,0.865)))
ref_system.add(gdstk.Reference(via_stack_3, (17.6,5.775), rotation=pi/2))
ref_system.add(gdstk.Reference(via_stack, (21.98,0)))
ref_system.add(gdstk.Label('v_mem', (0.35,8.39), layer=30, texttype=25))
ref_system.add(gdstk.Label('ACK', (25.94,17.12), layer=30, texttype=25))
ref_system.add(gdstk.Label('GND', (0.035,0), layer=30, texttype=25))
ref_system.add(gdstk.Label('VDD', (0.035,20), layer=30, texttype=25))
ref_system.add(gdstk.Label('REQ', (0.5,12.105), layer=30, texttype=25))
ref_system.add(gdstk.Label('Vrefcap', (25.94,14.74), layer=30, texttype=25))
ref_system.add(gdstk.Label('v_ref', (0.345,20.15), layer=50, texttype=25))

lib.write_gds('REF_system.gds')
